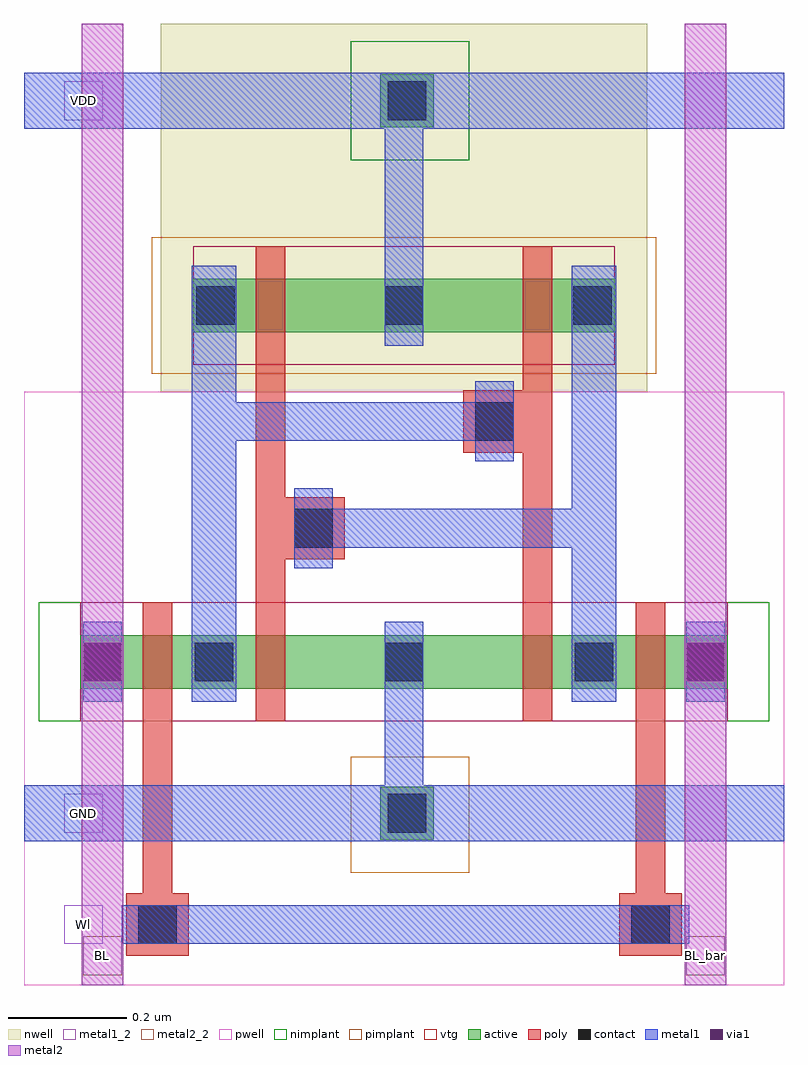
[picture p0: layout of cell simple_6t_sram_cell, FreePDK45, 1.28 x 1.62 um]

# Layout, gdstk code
import gdstk
lib = gdstk.Library(unit=1e-6, precision=5e-10)
def R(c, l, rs):  # rectangles x0, y0, x1, y1
    for r in rs: c.add(gdstk.rectangle(r[:2], r[2:], *l))
def A(c, l, x, y, w, h, nx, ny, dx, dy):  # array of equal rectangles
    R(c, l, [(x+i*dx, y+j*dy, x+i*dx+w, y+j*dy+h) for i in range(nx) for j in range(ny)])
active = (1, 0)
pwell = (2, 0)
nwell = (3, 0)
nimplant = (4, 0)
pimplant = (5, 0)
vtg = (6, 0)
poly = (9, 0)
contact = (10, 0)
metal1 = (11, 0)
metal1_2 = (11, 2)
via1 = (12, 0)
metal2 = (13, 0)
metal2_2 = (13, 2)

simple_6t_sram_cell = lib.new_cell('simple_6t_sram_cell')
R(simple_6t_sram_cell, active, [(0.4,-0.255,0.49,-0.165), (-0.105,0,0.985,0.09), (0.085,0.6,0.795,0.69), (0.4,0.945,0.49,1.035)])
R(simple_6t_sram_cell, pwell, [(-0.2,-0.5,1.08,0.5)])
R(simple_6t_sram_cell, nwell, [(0.03,0.5,0.85,1.12)])
R(simple_6t_sram_cell, nimplant, [(-0.175,-0.055,1.055,0.145), (0.35,0.89,0.55,1.09)])
R(simple_6t_sram_cell, pimplant, [(0.35,-0.31,0.55,-0.115), (0.015,0.53,0.865,0.76)])
R(simple_6t_sram_cell, vtg, [(-0.105,-0.055,0.985,0.145), (0.085,0.545,0.795,0.745)])
R(simple_6t_sram_cell, poly, [(-0.0275,-0.45,0.0775,-0.345), (0,-0.45,0.05,0.145), (0.8025,-0.45,0.9075,-0.345), (0.83,-0.45,0.88,0.145), (0.19,-0.055,0.24,0.745), (0.64,-0.055,0.69,0.745), (0.19,0.2175,0.34,0.3225), (0.54,0.3975,0.69,0.5025)])
A(simple_6t_sram_cell, contact, 0.0875, 0.0125, 0.065, 0.065, 3, 1, 0.32, 0)
A(simple_6t_sram_cell, contact, 0.09, 0.6125, 0.065, 0.065, 3, 1, 0.3175, 0)
R(simple_6t_sram_cell, contact, [(-0.0075,-0.43,0.0575,-0.365), (0.8225,-0.43,0.8875,-0.365), (0.4125,-0.2425,0.4775,-0.1775), (-0.1,0.0125,-0.035,0.0775), (0.915,0.0125,0.98,0.0775), (0.255,0.2375,0.32,0.3025), (0.56,0.4175,0.625,0.4825), (0.4125,0.9575,0.4775,1.0225)])
R(simple_6t_sram_cell, metal1, [(-0.035,-0.43,0.92,-0.365), (-0.2,-0.2575,1.08,-0.1625), (0.4075,-0.2575,0.4725,0.1125), (-0.1,-0.0225,-0.035,0.1125), (0.0825,-0.0225,0.1575,0.7125), (0.7225,-0.0225,0.7975,0.7125), (0.915,-0.0225,0.98,0.1125), (0.255,0.2025,0.32,0.3375), (0.32,0.2375,0.7975,0.3025), (0.56,0.3825,0.625,0.5175), (0.0825,0.4175,0.625,0.4825), (0.4075,0.5775,0.4725,0.9925), (-0.2,0.9425,1.08,1.0375)])
R(simple_6t_sram_cell, metal1_2, [(-0.1325,-0.43,-0.0675,-0.365), (-0.1325,-0.2425,-0.0675,-0.1775), (-0.1325,0.9575,-0.0675,1.0225)])
R(simple_6t_sram_cell, via1, [(-0.1,0.0125,-0.035,0.0775), (0.915,0.0125,0.98,0.0775)])
R(simple_6t_sram_cell, metal2, [(-0.1025,-0.5,-0.0325,1.12), (0.9125,-0.5,0.9825,1.12)])
R(simple_6t_sram_cell, metal2_2, [(-0.1,-0.4825,-0.035,-0.4175), (0.915,-0.4825,0.98,-0.4175)])
simple_6t_sram_cell.add(gdstk.Label('GND', (-0.1,-0.21), layer=11, texttype=1))
simple_6t_sram_cell.add(gdstk.Label('VDD', (-0.1,0.99), layer=11, texttype=1))
simple_6t_sram_cell.add(gdstk.Label('Wl', (-0.1,-0.3975), layer=11, texttype=1))
simple_6t_sram_cell.add(gdstk.Label('BL_bar', (0.9475,-0.45), layer=13, texttype=1))
simple_6t_sram_cell.add(gdstk.Label('BL', (-0.0675,-0.45), layer=13, texttype=1))

lib.write_gds('simple_6t_sram_cell.gds')
